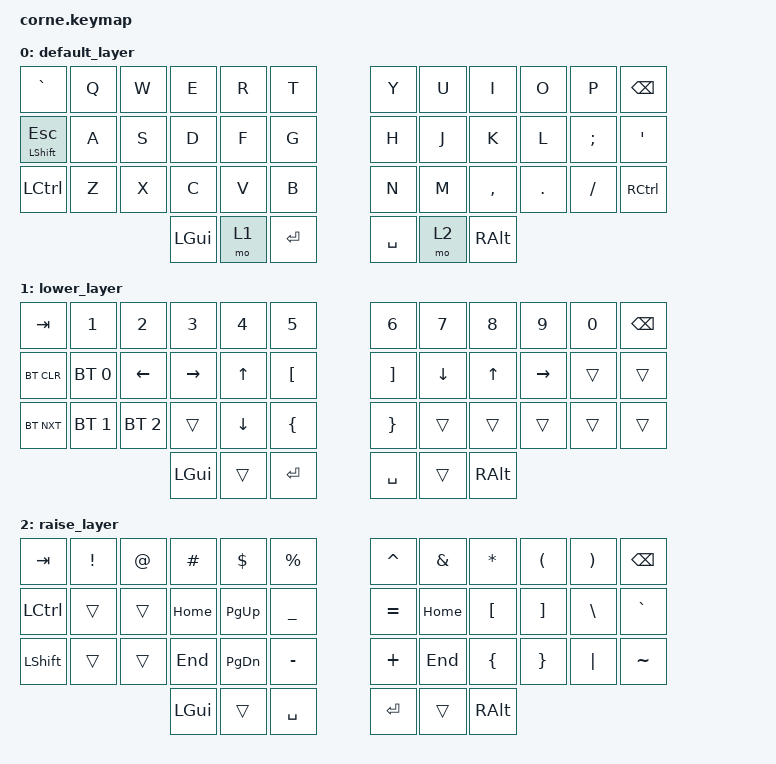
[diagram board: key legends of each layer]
/*
 * Copyright (c) 2020 The ZMK Contributors
 *
 * SPDX-License-Identifier: MIT
 */

#include <behaviors.dtsi>
#include <dt-bindings/zmk/keys.h>
#include <dt-bindings/zmk/bt.h>

/ {
        keymap {
                compatible = "zmk,keymap";

                default_layer {
// -----------------------------------------------------------------------------------------
// |  TAB       |  Q  |  W  |  E  |  R  |  T  |   |  Y  |  U   |  I  |  O  |  P  | BSPC |
// | ESC/LSFT   |  A  |  S  |  D  |  F  |  G  |   |  H  |  J   |  K  |  L  |  ;  |  '   |
// | LCTRL      |  Z  |  X  |  C  |  V  |  B  |   |  N  |  M   |  ,  |  .  |  /  | RCTRL|
//                    | GUI | LWR | SPC |   | ENT | RSE  | ALT |
                        bindings = <
   &kp GRAVE   	   &kp Q &kp W &kp E &kp R &kp T   &kp Y &kp U  &kp I     &kp O   &kp P    &kp BSPC
   &mt LSHIFT ESC  &kp A &kp S &kp D &kp F &kp G   &kp H &kp J  &kp K     &kp L   &kp SEMI &kp SQT
   &kp LCTRL 	   &kp Z &kp X &kp C &kp V &kp B   &kp N &kp M  &kp COMMA &kp DOT &kp FSLH &kp RCTRL
                  	&kp LGUI &mo 1 &kp RET     &kp SPACE &mo 2 &kp RALT
                        >;
                };
                lower_layer {
// -----------------------------------------------------------------------------------------
// |  TAB |  1  |  2  |  3  |  4  |  5  |   |  6  |  7  |  8  |  9  |  0  | BSPC |
// | BTCLR| BT1 | LEFT|RIGHT| UP  | [   |   | ]   | DWN |  UP | RGT |     |      |
// | BGNXT| BT2 | BT3 |     | DOWN| {   |   | }   |     |     |     |     |      |
//                    | GUI |     | SPC |   | ENT |     | ALT |
                        bindings = <
   &kp TAB      &kp N1       &kp N2       &kp N3        &kp N4          &kp N5          &kp N6          &kp N7   &kp N8 &kp N9    &kp N0 &kp BSPC
   &bt BT_CLR   &bt BT_SEL 0 &kp LEFT     &kp RIGHT     &kp UP          &kp LBKT        &kp RBKT        &kp DOWN &kp UP &kp RIGHT &trans &trans
   &bt BT_NXT   &bt BT_SEL 1 &bt BT_SEL 2 &trans        &kp DOWN        &kp LBRC        &kp RBRC        &trans   &trans &trans    &trans &trans
                                        &kp LGUI        &trans          &kp RET         &kp SPACE       &trans   &kp RALT
                        >;
                };

                raise_layer {
// -----------------------------------------------------------------------------------------
// |  TAB |  !  |  @  |  #  |  $  |  %  |   |  ^  |  &  |  *  |  (  |  )  | BSPC |
// | CTRL |     |     | HOME|PAGE UP|  _  |   |  =  |  PG_UP  |  [  |  ]  |  \  |  `   |
// | SHFT |     |     | END |PAGE DN|  -  |   |  +  |  PG_DN  |  {  |  }  | "|" |  ~   |
//                    | GUI |       | SPC |   | ENT |         | ALT |
                        bindings = <
   &kp  TAB  &kp EXCL &kp AT &kp HASH &kp DLLR  &kp PRCNT      &kp CARET &kp AMPS  &kp ASTRK &kp LPAR &kp RPAR &kp BSPC
   &kp LCTRL &trans   &trans &kp HOME &kp PG_UP &kp UNDER      &kp EQUAL &kp HOME  &kp LBKT  &kp RBKT &kp BSLH &kp GRAVE
   &kp LSHFT &trans   &trans &kp END  &kp PG_DN &kp MINUS      &kp PLUS  &kp END   &kp LBRC  &kp RBRC &kp PIPE &kp TILDE
                             &kp LGUI &trans    &kp SPACE      &kp RET   &trans    &kp RALT
                        >;
                };
        };
};
